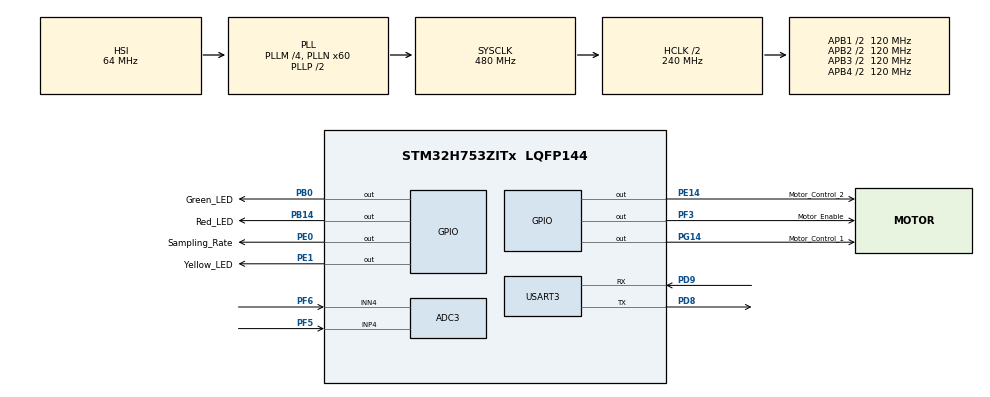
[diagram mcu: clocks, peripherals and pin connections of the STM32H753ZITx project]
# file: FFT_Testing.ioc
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ADC3.Channel-0\#ChannelRegularConversion=ADC_CHANNEL_4
ADC3.ExternalTrigConv=ADC_EXTERNALTRIG_T1_TRGO
ADC3.NbrOfConversionFlag=1
ADC3.OffsetNumber-0\#ChannelRegularConversion=ADC_OFFSET_NONE
ADC3.OffsetSignedSaturation-0\#ChannelRegularConversion=DISABLE
ADC3.Rank-0\#ChannelRegularConversion=1
ADC3.SamplingTime-0\#ChannelRegularConversion=ADC_SAMPLETIME_1CYCLE_5
ADC3.SingleDiff-0\#ChannelRegularConversion=ADC_DIFFERENTIAL_ENDED
CORTEX_M7.default_mode_Activation=1
Mcu.Family=STM32H7
Mcu.Name=STM32H753ZITx
Mcu.Package=LQFP144
NVIC.ADC3_IRQn=true\:0\:0\:false\:false\:true\:true\:true\:true
NVIC.PriorityGroup=NVIC_PRIORITYGROUP_4
PB0.GPIO_Label=Green_LED
PB0.Signal=GPIO_Output
PB14.GPIO_Label=Red_LED
PB14.Signal=GPIO_Output
PD8.Mode=Asynchronous
PD8.Signal=USART3_TX
PD9.Mode=Asynchronous
PD9.Signal=USART3_RX
PE0.GPIO_Label=Sampling_Rate
PE0.Signal=GPIO_Output
PE1.GPIO_Label=Yellow_LED
PE1.Signal=GPIO_Output
PE14.GPIO_Label=Motor_Control_2
PE14.Signal=GPIO_Output
PF3.GPIO_Label=Motor_Enable
PF3.Signal=GPIO_Output
PF5.Mode=IN4-Differential
PF5.Signal=ADC3_INP4
PF6.Mode=IN4-Differential
PF6.Signal=ADC3_INN4
PG14.GPIO_Label=Motor_Control_1
PG14.Signal=GPIO_Output
ProjectManager.HeapSize=0x200
ProjectManager.StackSize=0x400
ProjectManager.TargetToolchain=STM32CubeIDE
RCC.ADCFreq_Value=80000000
RCC.APB1Freq_Value=120000000
RCC.APB2Freq_Value=120000000
RCC.APB3Freq_Value=120000000
RCC.APB4Freq_Value=120000000
RCC.CortexFreq_Value=480000000
RCC.D1PPRE=RCC_APB3_DIV2
RCC.D2PPRE1=RCC_APB1_DIV2
RCC.D2PPRE2=RCC_APB2_DIV2
RCC.D3PPRE=RCC_APB4_DIV2
RCC.DIVM1=4
RCC.DIVM2=4
RCC.DIVN1=60
RCC.DIVN2=10
RCC.HCLKFreq_Value=240000000
RCC.HPRE=RCC_HCLK_DIV2
RCC.PLL2FRACN=0
RCC.PLL3FRACN=0
RCC.PLLFRACN=0
RCC.SYSCLKFreq_VALUE=480000000
RCC.SYSCLKSource=RCC_SYSCLKSOURCE_PLLCLK
RCC.USBFreq_Value=480000000
TIM1.Period=9.765625-1
TIM1.Prescaler=24000-1
TIM1.TIM_MasterOutputTrigger=TIM_TRGO_UPDATE
USART3.VirtualMode-Asynchronous=VM_ASYNC
VP_MEMORYMAP_VS_MEMORYMAP.Mode=CurAppReg
VP_TIM1_VS_ClockSourceINT.Mode=Internal
board=custom

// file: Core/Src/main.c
/* USER CODE BEGIN Header */
/**
  ******************************************************************************
  * @file           : main.c
  * @brief          : Main program body
  ******************************************************************************
  * @attention
  *
  * Copyright (c) 2025 STMicroelectronics.
  * All rights reserved.
  *
  * This software is licensed under terms that can be found in the LICENSE file
  * in the root directory of this software component.
  * If no LICENSE file comes with this software, it is provided AS-IS.
  *
  ******************************************************************************
  */
/* USER CODE END Header */
#include "main.h"

/* USER CODE BEGIN Includes */
#include <stdio.h>
#include <stdlib.h>

#define ARM_MATH_CM7
#include "arm_math.h"
#include "arm_const_structs.h"
/* USER CODE END Includes */

/* USER CODE BEGIN PD */

#define FFT_SIZE_V0_1 1024
#define FFT_SIZE_V2 64
#define SAMPLING_RATE 1024
#define TEST_VERSIONS 1
// TEST_VERSION 0 --> CFFT Piezo Input
// TEST_VERSION 1 --> RFFT Piezo Input
// TEST_VERSION 2 --> CFFT Sin Wave

#define NUM_STRINGS 6
#define MAX_PEAKS 18
#define FREQ_BIN_WIDTH 3
#define FREQ_TOLERANCE 7
#define HARM_TOLERANCE 2

#define E2_TUNE_TOL 0.5
#define A2_TUNE_TOL 0.75
#define D3_TUNE_TOL 1
#define G3_TUNE_TOL 1.35
#define B3_TUNE_TOL 1.7
#define E4_TUNE_TOL 2.3

#define E2 82.41
#define A2 110
#define D3 146.83
#define G3 196
#define B3 246.94
#define E4 329.63

#define E2_ADJUST 7
#define A2_ADJUST 9
#define D3_ADJUST 12
#define G3_ADJUST 16
#define B3_ADJUST 20
#define E4_ADJUST 27

/* USER CODE END PD */

ADC_HandleTypeDef hadc3;

TIM_HandleTypeDef htim1;

UART_HandleTypeDef huart3;

/* USER CODE BEGIN PV */
char buffer[100] = "";

uint32_t adc_val = 0;
uint16_t adc_max_range = 65535;
float voltage = 0.0f;

float currVal = 0.0f;
float peakVal = 0.0f;
float currFreq = 0.0f;
float peakFreq = 0.0f;

uint16_t fftIndex = 0;
uint8_t fftFlag = 0;
uint8_t freqBin = 1;
uint16_t freqIndex = 0;

q15_t inputSignalV0[FFT_SIZE_V0_1];
q15_t complexOutputV0[FFT_SIZE_V0_1 * 2];
q15_t freqSpectrumV0[FFT_SIZE_V0_1];

float inputSignalV1[FFT_SIZE_V0_1];
float outputSignalV1[FFT_SIZE_V0_1];
float freqSpectrumV1[FFT_SIZE_V0_1 / 2];
float dBSpectrumV1[FFT_SIZE_V0_1 / 2];
float currFreqArray[FFT_SIZE_V0_1 / 2];

q15_t inputSignalV2[FFT_SIZE_V2];
q15_t complexOutputV2[FFT_SIZE_V2 * 2];
q15_t freqSpectrumV2[FFT_SIZE_V2];

arm_rfft_fast_instance_f32 fftHandler;

int takeFFTs = 1;
int inTuneFlag = 0;
int tuneCounter = 0;

float E2_low = 73.42;
float E2_high = 92.50;
float A2_low = 98;
float A2_high = 123.47;
float D3_low = 130.81;
float D3_high = 164.81;
float G3_low = 174.61;
float G3_high = 220;
float B3_low = 220.001;
float B3_high = 277.18;
float E4_low = 293.66;
float E4_high = 369.99;

int peaks_list_freq[MAX_PEAKS];
float peaks_list_val[MAX_PEAKS];
int E2_freq_bin[FREQ_BIN_WIDTH];
int A2_freq_bin[FREQ_BIN_WIDTH];
int D3_freq_bin[FREQ_BIN_WIDTH];
int G3_freq_bin[FREQ_BIN_WIDTH];
int B3_freq_bin[FREQ_BIN_WIDTH];
int E4_freq_bin[FREQ_BIN_WIDTH];

int E2_index = 0;
int A2_index = 0;
int D3_index = 0;
int G3_index = 0;
int B3_index = 0;
int E4_index = 0;

int E2_tune = 0;
int A2_tune = 0;
int D3_tune = 0;
int G3_tune = 0;
int B3_tune = 0;
int E4_tune = 0;
// 0 --> In Tune
// 1 --> Sharp
// 2 --> Flat

int prevDegreesRotated = 180;
int currDegreesRotated = 0;
float inTuneDiff = 0;

/* USER CODE END PV */

void SystemClock_Config(void);
static void MPU_Config(void);
static void MX_GPIO_Init(void);
static void MX_ADC3_Init(void);
static void MX_TIM1_Init(void);
static void MX_USART3_UART_Init(void);

/* USER CODE BEGIN 0 */
void HAL_ADC_ConvCpltCallback(ADC_HandleTypeDef *hadc) {
	adc_val = HAL_ADC_GetValue(hadc);
	voltage = ((3300 * 2 * adc_val) / (float) adc_max_range) - 3300;

	if (TEST_VERSIONS == 0) { // --------------------------------------------------------------------------
		inputSignalV0[fftIndex] = voltage;
		complexOutputV0[fftIndex * 2] = voltage;
		complexOutputV0[fftIndex * 2 + 1] = 0;
		fftIndex++;

		if (fftIndex == FFT_SIZE_V0_1) {
			arm_cfft_q15(&arm_cfft_sR_q15_len64, &complexOutputV0[0], 0, 1);
			arm_cmplx_mag_q15(&complexOutputV0[0], &freqSpectrumV0[0], FFT_SIZE_V0_1);

			fftFlag = 1;
			fftIndex = 0;
		}
	} else if (TEST_VERSIONS == 1) { // -------------------------------------------------------------------
		if (takeFFTs == 1) {
			inputSignalV1[fftIndex] = voltage;
			fftIndex++;

			if (fftIndex == FFT_SIZE_V0_1) {
				arm_rfft_fast_f32(&fftHandler, &inputSignalV1[0], &outputSignalV1[0], 0);

				fftFlag = 1;
				fftIndex = 0;

				HAL_GPIO_TogglePin(GPIOE, Sampling_Rate_Pin);
			}
		}
	} else if (TEST_VERSIONS == 2) { // -------------------------------------------------------------------
		// Sin Wave Test Output
	}
}

void blinkGreenLED() {
	HAL_Delay(1000);
	HAL_GPIO_WritePin(Green_LED_GPIO_Port, Green_LED_Pin, GPIO_PIN_SET);
	HAL_Delay(1000);
	HAL_GPIO_WritePin(Green_LED_GPIO_Port, Green_LED_Pin, GPIO_PIN_RESET);
}

void blinkYellowLED() {
	HAL_Delay(1000);
	HAL_GPIO_WritePin(Yellow_LED_GPIO_Port, Yellow_LED_Pin, GPIO_PIN_SET);
	HAL_Delay(1000);
	HAL_GPIO_WritePin(Yellow_LED_GPIO_Port, Yellow_LED_Pin, GPIO_PIN_RESET);
}

void blinkRedLED() {
	HAL_Delay(1000);
	HAL_GPIO_WritePin(Red_LED_GPIO_Port, Red_LED_Pin, GPIO_PIN_SET);
	HAL_Delay(1000);
	HAL_GPIO_WritePin(Red_LED_GPIO_Port, Red_LED_Pin, GPIO_PIN_RESET);
}

void blinkAllLEDs() {
	HAL_Delay(1000);
	HAL_GPIO_WritePin(Green_LED_GPIO_Port, Green_LED_Pin, GPIO_PIN_SET);
	HAL_GPIO_WritePin(Yellow_LED_GPIO_Port, Yellow_LED_Pin, GPIO_PIN_SET);
	HAL_GPIO_WritePin(Red_LED_GPIO_Port, Red_LED_Pin, GPIO_PIN_SET);
	HAL_Delay(1000);
	HAL_GPIO_WritePin(Green_LED_GPIO_Port, Green_LED_Pin, GPIO_PIN_RESET);
	HAL_GPIO_WritePin(Yellow_LED_GPIO_Port, Yellow_LED_Pin, GPIO_PIN_RESET);
	HAL_GPIO_WritePin(Red_LED_GPIO_Port, Red_LED_Pin, GPIO_PIN_RESET);
}

void resetFreqPeaksList() {
	for (int i = 0; i < MAX_PEAKS; i++) {
		peaks_list_freq[i] = 0;
		peaks_list_val[i] = 0;
	}
}

void resetFreqPeaksBins() {
	for (int i = 0; i < FREQ_BIN_WIDTH; i++) {
		E2_freq_bin[i] = 0;
		A2_freq_bin[i] = 0;
		D3_freq_bin[i] = 0;
		G3_freq_bin[i] = 0;
		B3_freq_bin[i] = 0;
		E4_freq_bin[i] = 0;
	}

	E2_index = 0;
	A2_index = 0;
	D3_index = 0;
	G3_index = 0;
	B3_index = 0;
	E4_index = 0;
}

void stopFFTsCheck() {
	if (E2_index > 0 &&
		A2_index > 0 &&
		D3_index > 0 &&
		G3_index > 0 &&
		B3_index > 0 &&
		E4_index > 0) {
		takeFFTs = 0;
	}
}

void clearBuffer() {
	memset(buffer, 0, sizeof(buffer));
}

void printFreqBins() {
	for (int i = 0; i < NUM_STRINGS; i++) {
		for (int j = 0; j < FREQ_BIN_WIDTH; j++) {
			if (i == 0) {
				if (E2_freq_bin[j] > 0) {
					snprintf(buffer, 100, "E2 Freq Bin: %d \r\n", E2_freq_bin[j]);
					HAL_UART_Transmit(&huart3, (uint8_t*) buffer, 100, 100);
				}
			} else if (i == 1) {
				if (A2_freq_bin[j] > 0) {
					snprintf(buffer, 100, "A2 Freq Bin: %d \r\n", A2_freq_bin[j]);
					HAL_UART_Transmit(&huart3, (uint8_t*) buffer, 100, 100);
				}
			} else if (i == 2) {
				if (D3_freq_bin[j] > 0) {
					snprintf(buffer, 100, "D3 Freq Bin: %d \r\n", D3_freq_bin[j]);
					HAL_UART_Transmit(&huart3, (uint8_t*) buffer, 100, 100);
				}
			} else if (i == 3) {
				if (G3_freq_bin[j] > 0) {
					snprintf(buffer, 100, "G3 Freq Bin: %d \r\n", G3_freq_bin[j]);
					HAL_UART_Transmit(&huart3, (uint8_t*) buffer, 100, 100);
				}
			} else if (i == 4) {
				if (B3_freq_bin[j] > 0) {
					snprintf(buffer, 100, "B3 Freq Bin: %d \r\n", B3_freq_bin[j]);
					HAL_UART_Transmit(&huart3, (uint8_t*) buffer, 100, 100);
				}
			} else {
				if (E4_freq_bin[j] > 0) {
					snprintf(buffer, 100, "E4 Freq Bin: %d \r\n", E4_freq_bin[j]);
					HAL_UART_Transmit(&huart3, (uint8_t*) buffer, 100, 100);
				}
			}
		}
	}

	clearBuffer();
}

void removeHarmonics() {
	int fundamental = 0;
	int harm_one = 0;
	int harm_two = 0;

	for (int i = 0; i < MAX_PEAKS; i++) {
		fundamental = peaks_list_freq[i];
		harm_one = fundamental * 2;
		harm_two = fundamental * 0; // ISSUE: Causes conflict with the upper strings right now

		for (int j = i + 1; j < MAX_PEAKS; j++) {
			if ((peaks_list_freq[j] != 0) &&
			   ((peaks_list_freq[j] >= harm_one - HARM_TOLERANCE && peaks_list_freq[j] <= harm_one + HARM_TOLERANCE) ||
				(peaks_list_freq[j] >= harm_two - HARM_TOLERANCE && peaks_list_freq[j] <= harm_two + HARM_TOLERANCE))) {
				peaks_list_freq[j] = 0;
			}
		}
	}

	clearBuffer();
}

void identifyFreqPeaks(float freq_vals[], int arr_length) {
	int curr_index = 0;
	resetFreqPeaksList();

	for (int i = 0; i < arr_length; i++) {
		if (freq_vals[i] >= 30000 && i > 70) {
			if (curr_index > 0) {
				if ((peaks_list_val[curr_index - 1] < freq_vals[i]) && (i - peaks_list_freq[curr_index - 1] <= FREQ_TOLERANCE)) {
					peaks_list_freq[curr_index - 1] = i;
					peaks_list_val[curr_index - 1] = freq_vals[i];
				} else if ((peaks_list_val[curr_index - 1] > freq_vals[i]) && (i - peaks_list_freq[curr_index - 1] <= FREQ_TOLERANCE)) {
					continue;
				} else {
					peaks_list_freq[curr_index] = i;
					peaks_list_val[curr_index] = freq_vals[i];
					curr_index++;
				}
			} else {
				peaks_list_freq[curr_index] = i;
				peaks_list_val[curr_index] = freq_vals[i];
				curr_index++;
			}
		}
	}
}

int determineDuplicateFreqs(int freqs[], int new_freq) {
	for (int i = 0; i < FREQ_BIN_WIDTH; i++) {
		if (freqs[i] == new_freq) {
			return 1;
		}
	}

	return 0;
}

void determineFreqBins() {
	int curr_peak = 0;
	for (int i = 0; i < MAX_PEAKS; i++) {
		curr_peak = peaks_list_freq[i];
		if ((curr_peak + E2_ADJUST > E2_low && curr_peak + E2_ADJUST < E2_high) &&
			(determineDuplicateFreqs(&E2_freq_bin[0], curr_peak + E2_ADJUST) == 0) &&
			(E2_index < FREQ_BIN_WIDTH)) {
			E2_freq_bin[E2_index] = curr_peak + E2_ADJUST;
			E2_index++;
		} else if ((curr_peak + A2_ADJUST > A2_low && curr_peak + A2_ADJUST < A2_high) &&
				   (determineDuplicateFreqs(&A2_freq_bin[0], curr_peak + A2_ADJUST) == 0) &&
				   (A2_index < FREQ_BIN_WIDTH)) {
			A2_freq_bin[A2_index] = curr_peak + A2_ADJUST;
			A2_index++;
		} else if ((curr_peak + D3_ADJUST > D3_low && curr_peak + D3_ADJUST < D3_high) &&
				   (determineDuplicateFreqs(&D3_freq_bin[0], curr_peak + D3_ADJUST) == 0) &&
				   (D3_index < FREQ_BIN_WIDTH)) {
			D3_freq_bin[D3_index] = curr_peak+ D3_ADJUST;
			D3_index++;
		} else if ((curr_peak + G3_ADJUST > G3_low && curr_peak + G3_ADJUST < G3_high) &&
				   (determineDuplicateFreqs(&G3_freq_bin[0], curr_peak + G3_ADJUST) == 0) &&
				   (G3_index < FREQ_BIN_WIDTH)) {
			G3_freq_bin[G3_index] = curr_peak+ G3_ADJUST;
			G3_index++;
		} else if ((curr_peak + B3_ADJUST > B3_low && curr_peak + B3_ADJUST < B3_high) &&
				   (determineDuplicateFreqs(&B3_freq_bin[0], curr_peak + B3_ADJUST) == 0) &&
				   (B3_index < FREQ_BIN_WIDTH)) {
			B3_freq_bin[B3_index] = curr_peak+ B3_ADJUST ;
			B3_index++;
		} else if ((curr_peak + E4_ADJUST > E4_low && curr_peak + E4_ADJUST < E4_high) &&
				   (determineDuplicateFreqs(&E4_freq_bin[0], curr_peak + E4_ADJUST) == 0) &&
				   (E4_index < FREQ_BIN_WIDTH)) {
			E4_freq_bin[E4_index] = curr_peak+ E4_ADJUST ;
			E4_index++;
		} else {
			continue;
		}
	}
}

void checkClosestFreq(int freqs[], float correct_note) {
	int peakOneFreqDist = abs(correct_note - freqs[0]);
	int peakTwoFreqDist = abs(correct_note - freqs[1]);
	int peakThreeFreqDist = abs(correct_note - freqs[2]);

	if (peakOneFreqDist <= peakTwoFreqDist && peakOneFreqDist <= peakThreeFreqDist) {
		freqs[0] = freqs[0];
		freqs[1] = 0;
		freqs[2] = 0;
	} else if (peakTwoFreqDist <= peakOneFreqDist && peakTwoFreqDist <= peakThreeFreqDist) {
		freqs[0] = freqs[1];
		freqs[1] = 0;
		freqs[2] = 0;
	} else if (peakThreeFreqDist <= peakOneFreqDist && peakThreeFreqDist <= peakTwoFreqDist) {
		freqs[0] = freqs[2];
		freqs[1] = 0;
		freqs[2] = 0;
	}
}

void cleanFreqBins() {
	for (int i = 0; i < NUM_STRINGS; i++) {
		if (i == 0) {
			if (E2_index > 1) {
				checkClosestFreq(&E2_freq_bin[0], E2);
				E2_index = 1;
			}
		} else if (i == 1) {
			if (A2_index > 1) {
				checkClosestFreq(&A2_freq_bin[0], A2);
				A2_index = 1;
			}
		} else if (i == 2) {
			if (D3_index > 1) {
				checkClosestFreq(&D3_freq_bin[0], D3);
				D3_index = 1;
			}
		} else if (i == 3) {
			if (G3_index > 1) {
				checkClosestFreq(&G3_freq_bin[0], G3);
				G3_index = 1;
			}
		} else if (i == 4) {
			if (B3_index > 1) {
				checkClosestFreq(&B3_freq_bin[0], B3);
				B3_index = 1;
			}
		} else if (i == 5) {
			if (E4_index > 1) {
				checkClosestFreq(&E4_freq_bin[0], E4);
				E4_index = 1;
			}
		}
	}
}

void rotateMotor(int direction, int duration){
	if (direction == 1) {
		HAL_GPIO_WritePin(Motor_Control_1_GPIO_Port, Motor_Control_1_Pin, GPIO_PIN_SET);
		HAL_GPIO_WritePin(GPIOE, Motor_Control_2_Pin, GPIO_PIN_RESET);
	} else if (direction == 2) {
		HAL_GPIO_WritePin(Motor_Control_1_GPIO_Port, Motor_Control_1_Pin, GPIO_PIN_RESET);
		HAL_GPIO_WritePin(GPIOE, Motor_Control_2_Pin, GPIO_PIN_SET);
	}

	HAL_GPIO_WritePin(Motor_Enable_GPIO_Port, Motor_Enable_Pin, GPIO_PIN_SET);

	snprintf(buffer, 100, "Motor Rotation Duration: %d \r\n", duration);
	HAL_UART_Transmit(&huart3, (uint8_t*) buffer, 100, 100);
	clearBuffer();

	HAL_Delay(duration);

	HAL_GPIO_WritePin(Motor_Control_1_GPIO_Port, Motor_Control_1_Pin, GPIO_PIN_RESET);
	HAL_GPIO_WritePin(GPIOE, Motor_Control_2_Pin, GPIO_PIN_RESET);
	HAL_GPIO_WritePin(Motor_Enable_GPIO_Port, Motor_Enable_Pin, GPIO_PIN_RESET);
}

int determineDuration(float correctFreq, float currFreq){
	inTuneDiff = abs(correctFreq - currFreq);
	currDegreesRotated = (inTuneDiff / 21) * 180;
	if (currDegreesRotated < prevDegreesRotated) {
		prevDegreesRotated = currDegreesRotated;
		return (currDegreesRotated / 3) * 1000;
	} else {
		return -1;
	}
}

void turnMotors() {
	if (E2_tune == 1) {
		snprintf(buffer, 100, "E2 String is Sharp... Turning Motor Clockwise \r\n");
		HAL_UART_Transmit(&huart3, (uint8_t*) buffer, 100, 100);
	} else if (E2_tune == 2) {
		snprintf(buffer, 100, "E2 String is Flat... Turning Motor Counterclockwise \r\n");
		HAL_UART_Transmit(&huart3, (uint8_t*) buffer, 100, 100);
	}
	clearBuffer();

	if (A2_tune == 1) {
		snprintf(buffer, 100, "A2 String is Sharp... Turning Motor Clockwise \r\n");
		HAL_UART_Transmit(&huart3, (uint8_t*) buffer, 100, 100);
	} else if (A2_tune == 2) {
		snprintf(buffer, 100, "A2 String is Flat... Turning Motor Counterclockwise \r\n");
		HAL_UART_Transmit(&huart3, (uint8_t*) buffer, 100, 100);
	}
	clearBuffer();

	if (D3_tune == 1) {
		snprintf(buffer, 100, "D3 String is Sharp... Turning Motor Clockwise \r\n");
		HAL_UART_Transmit(&huart3, (uint8_t*) buffer, 100, 100);
	} else if (D3_tune == 2) {
		snprintf(buffer, 100, "D3 String is Flat... Turning Motor Counterclockwise \r\n");
		HAL_UART_Transmit(&huart3, (uint8_t*) buffer, 100, 100);
	}
	clearBuffer();

	if (G3_tune == 1) {
		snprintf(buffer, 100, "G3 String is Sharp... Turning Motor Clockwise \r\n");
		HAL_UART_Transmit(&huart3, (uint8_t*) buffer, 100, 100);
		clearBuffer();

		rotateMotor(1, determineDuration(G3, G3_freq_bin[0]));
	} else if (G3_tune == 2) {
		snprintf(buffer, 100, "G3 String is Flat... Turning Motor Counterclockwise \r\n");
		HAL_UART_Transmit(&huart3, (uint8_t*) buffer, 100, 100);
		clearBuffer();

		rotateMotor(2, determineDuration(G3, G3_freq_bin[0]));
	}
	clearBuffer();

	if (B3_tune == 1) {
		snprintf(buffer, 100, "B3 String is Sharp... Turning Motor Clockwise \r\n");
		HAL_UART_Transmit(&huart3, (uint8_t*) buffer, 100, 100);
	} else if (B3_tune == 2) {
		snprintf(buffer, 100, "B3 String is Flat... Turning Motor Counterclockwise \r\n");
		HAL_UART_Transmit(&huart3, (uint8_t*) buffer, 100, 100);
	}
	clearBuffer();

	if (E4_tune == 1) {
		snprintf(buffer, 100, "E4 String is Sharp... Turning Motor Clockwise \r\n");
		HAL_UART_Transmit(&huart3, (uint8_t*) buffer, 100, 100);
	} else if (E4_tune == 2) {
		snprintf(buffer, 100, "E4 String is Flat... Turning Motor Counterclockwise \r\n");
		HAL_UART_Transmit(&huart3, (uint8_t*) buffer, 100, 100);
	}
	clearBuffer();
}

void isFlat() {
	blinkRedLED();
}

void isSharp() {
	blinkYellowLED();
}

void isInTune() {
	blinkGreenLED();
}

int calculateTuning(float curr_freq, float correct_freq, float tune_tol) {
	if (curr_freq >= correct_freq - tune_tol && curr_freq <= correct_freq + tune_tol) {
		//isInTune();
		return 0;
	} else if (curr_freq > correct_freq + tune_tol) {
		//isSharp();
		return 1;
	} else if (curr_freq < correct_freq - tune_tol) {
		//isFlat();
		return 2;
	} else {
		HAL_GPIO_WritePin(Green_LED_GPIO_Port, Green_LED_Pin, GPIO_PIN_SET);
		HAL_GPIO_WritePin(Yellow_LED_GPIO_Port, Yellow_LED_Pin, GPIO_PIN_SET);
		HAL_GPIO_WritePin(Red_LED_GPIO_Port, Red_LED_Pin, GPIO_PIN_SET);
		return 3;
	}
}

void checkTuning() {
	inTuneFlag = 0;
	for (int i = 0; i < NUM_STRINGS; i++) {
		if (i == 0) {
			E2_tune = calculateTuning(E2_freq_bin[0], E2, E2_TUNE_TOL);
			inTuneFlag += E2_tune;
		} else if (i == 1) {
			A2_tune = calculateTuning(A2_freq_bin[0], A2, A2_TUNE_TOL);
			inTuneFlag += A2_tune;
		} else if (i == 2) {
			D3_tune = calculateTuning(D3_freq_bin[0], D3, D3_TUNE_TOL);
			inTuneFlag += D3_tune;
		} else if (i == 3) {
			G3_tune = calculateTuning(G3_freq_bin[0], G3, G3_TUNE_TOL);
			inTuneFlag += G3_tune;
		} else if (i == 4) {
			B3_tune = calculateTuning(B3_freq_bin[0], B3, B3_TUNE_TOL);
			inTuneFlag += B3_tune;
		} else {
			E4_tune = calculateTuning(E4_freq_bin[0], E4, E4_TUNE_TOL);
			inTuneFlag += E4_tune;
		}
	}

	if (inTuneFlag == 0) {
		snprintf(buffer, 100, "Your guitar is in tune and ready to play! \r\n");
		HAL_UART_Transmit(&huart3, (uint8_t*) buffer, 100, 100);
		clearBuffer();

		takeFFTs = 2;
	} else {
		snprintf(buffer, 100, "Tuning still in process... \r\n");
		HAL_UART_Transmit(&huart3, (uint8_t*) buffer, 100, 100);
		clearBuffer();

		turnMotors();

		snprintf(buffer, 100, "Please strum again! \r\n");
		HAL_UART_Transmit(&huart3, (uint8_t*) buffer, 100, 100);
		clearBuffer();

		takeFFTs = 1;
	}
}

/* USER CODE END 0 */

int main(void)
{

  /* MPU Configuration--------------------------------------------------------*/
  MPU_Config();

  /* MCU Configuration--------------------------------------------------------*/

  /* Reset of all peripherals, Initializes the Flash interface and the Systick. */
  HAL_Init();

  /* Configure the system clock */
  SystemClock_Config();

  /* Initialize all configured peripherals */
  MX_GPIO_Init();
  MX_ADC3_Init();
  MX_TIM1_Init();
  MX_USART3_UART_Init();
  /* USER CODE BEGIN 2 */

  arm_rfft_fast_init_f32(&fftHandler, FFT_SIZE_V0_1);

  HAL_ADCEx_Calibration_Start(&hadc3, ADC_CALIB_OFFSET_LINEARITY, ADC_DIFFERENTIAL_ENDED);
  HAL_TIM_Base_Start(&htim1);
  HAL_ADC_Start_IT(&hadc3);

  snprintf(buffer, 100, "Please strum your guitar to begin the tuning process! \r\n");
  HAL_UART_Transmit(&huart3, (uint8_t*) buffer, 100, 100);
  clearBuffer();

  /* USER CODE END 2 */

  /* Infinite loop */
  while (1)
  {

    /* USER CODE BEGIN 3 */

	blinkAllLEDs();

	if (TEST_VERSIONS == 1) {
		if (fftFlag == 1 && takeFFTs == 1) {
			freqIndex = 0;
			for (int i = 0; i < FFT_SIZE_V0_1; i += 2) {
				currVal = sqrtf((outputSignalV1[i] * outputSignalV1[i]) + (outputSignalV1[i + 1] * outputSignalV1[i + 1]));
				currFreq = (freqIndex * SAMPLING_RATE) / (float) FFT_SIZE_V0_1;

				currFreqArray[i / 2] = currFreq;
				freqSpectrumV1[i / 2] = currVal;
				dBSpectrumV1[i / 2] = 20 * log10(currVal);

				freqIndex++;
			}

			identifyFreqPeaks(&freqSpectrumV1[0], FFT_SIZE_V0_1 / 2);

			removeHarmonics();

			determineFreqBins();

			stopFFTsCheck();

			fftFlag = 0;

		} else if (takeFFTs == 0) {

			cleanFreqBins();

			printFreqBins();

			checkTuning();

			resetFreqPeaksBins();
		} else if (takeFFTs == 2) {
			HAL_Delay(5000);

			takeFFTs = 1;
		}
	} else if (TEST_VERSIONS == 2) {
		for (int i = 0; i < FFT_SIZE_V2; i++) {
			inputSignalV2[i] = round(32767 * sin(freqBin * 2.0 * M_PI * i / FFT_SIZE_V2));
			complexOutputV2[i * 2] = inputSignalV2[i];
			complexOutputV2[i * 2 + 1] = 0;
		}

		freqBin++;
		if (freqBin >= FFT_SIZE_V2 / 2) {
			freqBin = 1;
		}

		arm_cfft_q15(&arm_cfft_sR_q15_len64, &complexOutputV2[0], 0, 1);
		arm_cmplx_mag_q15(&complexOutputV2[0], &freqSpectrumV2[0], FFT_SIZE_V2);

	}

  }
  /* USER CODE END 3 */
}

void SystemClock_Config(void)
{
  RCC_OscInitTypeDef RCC_OscInitStruct = {0};
  RCC_ClkInitTypeDef RCC_ClkInitStruct = {0};

  /** Supply configuration update enable
  */
  HAL_PWREx_ConfigSupply(PWR_LDO_SUPPLY);

  /** Configure the main internal regulator output voltage
  */
  __HAL_PWR_VOLTAGESCALING_CONFIG(PWR_REGULATOR_VOLTAGE_SCALE0);

  while(!__HAL_PWR_GET_FLAG(PWR_FLAG_VOSRDY)) {}

  /** Initializes the RCC Oscillators according to the specified parameters
  * in the RCC_OscInitTypeDef structure.
  */
  RCC_OscInitStruct.OscillatorType = RCC_OSCILLATORTYPE_HSI;
  RCC_OscInitStruct.HSIState = RCC_HSI_DIV1;
  RCC_OscInitStruct.HSICalibrationValue = RCC_HSICALIBRATION_DEFAULT;
  RCC_OscInitStruct.PLL.PLLState = RCC_PLL_ON;
  RCC_OscInitStruct.PLL.PLLSource = RCC_PLLSOURCE_HSI;
  RCC_OscInitStruct.PLL.PLLM = 4;
  RCC_OscInitStruct.PLL.PLLN = 60;
  RCC_OscInitStruct.PLL.PLLP = 2;
  RCC_OscInitStruct.PLL.PLLQ = 2;
  RCC_OscInitStruct.PLL.PLLR = 2;
  RCC_OscInitStruct.PLL.PLLRGE = RCC_PLL1VCIRANGE_3;
  RCC_OscInitStruct.PLL.PLLVCOSEL = RCC_PLL1VCOWIDE;
  RCC_OscInitStruct.PLL.PLLFRACN = 0;
  if (HAL_RCC_OscConfig(&RCC_OscInitStruct) != HAL_OK)
  {
    Error_Handler();
  }

  /** Initializes the CPU, AHB and APB buses clocks
  */
  RCC_ClkInitStruct.ClockType = RCC_CLOCKTYPE_HCLK|RCC_CLOCKTYPE_SYSCLK
                              |RCC_CLOCKTYPE_PCLK1|RCC_CLOCKTYPE_PCLK2
                              |RCC_CLOCKTYPE_D3PCLK1|RCC_CLOCKTYPE_D1PCLK1;
  RCC_ClkInitStruct.SYSCLKSource = RCC_SYSCLKSOURCE_PLLCLK;
  RCC_ClkInitStruct.SYSCLKDivider = RCC_SYSCLK_DIV1;
  RCC_ClkInitStruct.AHBCLKDivider = RCC_HCLK_DIV2;
  RCC_ClkInitStruct.APB3CLKDivider = RCC_APB3_DIV2;
  RCC_ClkInitStruct.APB1CLKDivider = RCC_APB1_DIV2;
  RCC_ClkInitStruct.APB2CLKDivider = RCC_APB2_DIV2;
  RCC_ClkInitStruct.APB4CLKDivider = RCC_APB4_DIV2;

  if (HAL_RCC_ClockConfig(&RCC_ClkInitStruct, FLASH_LATENCY_4) != HAL_OK)
  {
    Error_Handler();
  }
}

static void MX_ADC3_Init(void)
{

  ADC_ChannelConfTypeDef sConfig = {0};

  /** Common config
  */
  hadc3.Instance = ADC3;
  hadc3.Init.Resolution = ADC_RESOLUTION_16B;
  hadc3.Init.ScanConvMode = ADC_SCAN_DISABLE;
  hadc3.Init.EOCSelection = ADC_EOC_SINGLE_CONV;
  hadc3.Init.LowPowerAutoWait = DISABLE;
  hadc3.Init.ContinuousConvMode = DISABLE;
  hadc3.Init.NbrOfConversion = 1;
  hadc3.Init.DiscontinuousConvMode = DISABLE;
  hadc3.Init.ExternalTrigConv = ADC_EXTERNALTRIG_T1_TRGO;
  hadc3.Init.ExternalTrigConvEdge = ADC_EXTERNALTRIGCONVEDGE_RISING;
  hadc3.Init.ConversionDataManagement = ADC_CONVERSIONDATA_DR;
  hadc3.Init.Overrun = ADC_OVR_DATA_PRESERVED;
  hadc3.Init.LeftBitShift = ADC_LEFTBITSHIFT_NONE;
  hadc3.Init.OversamplingMode = DISABLE;
  hadc3.Init.Oversampling.Ratio = 1;
  if (HAL_ADC_Init(&hadc3) != HAL_OK)
  {
    Error_Handler();
  }

  /** Configure Regular Channel
  */
  sConfig.Channel = ADC_CHANNEL_4;
  sConfig.Rank = ADC_REGULAR_RANK_1;
  sConfig.SamplingTime = ADC_SAMPLETIME_1CYCLE_5;
  sConfig.SingleDiff = ADC_DIFFERENTIAL_ENDED;
  sConfig.OffsetNumber = ADC_OFFSET_NONE;
  sConfig.Offset = 0;
  sConfig.OffsetSignedSaturation = DISABLE;
  if (HAL_ADC_ConfigChannel(&hadc3, &sConfig) != HAL_OK)
  {
    Error_Handler();
  }

}

static void MX_TIM1_Init(void)
{

  TIM_ClockConfigTypeDef sClockSourceConfig = {0};
  TIM_MasterConfigTypeDef sMasterConfig = {0};

  htim1.Instance = TIM1;
  htim1.Init.Prescaler = 24000-1;
  htim1.Init.CounterMode = TIM_COUNTERMODE_UP;
  htim1.Init.Period = 9.765625-1;
  htim1.Init.ClockDivision = TIM_CLOCKDIVISION_DIV1;
  htim1.Init.RepetitionCounter = 0;
  htim1.Init.AutoReloadPreload = TIM_AUTORELOAD_PRELOAD_DISABLE;
  if (HAL_TIM_Base_Init(&htim1) != HAL_OK)
  {
    Error_Handler();
  }
  sClockSourceConfig.ClockSource = TIM_CLOCKSOURCE_INTERNAL;
  if (HAL_TIM_ConfigClockSource(&htim1, &sClockSourceConfig) != HAL_OK)
  {
    Error_Handler();
  }
  sMasterConfig.MasterOutputTrigger = TIM_TRGO_UPDATE;
  sMasterConfig.MasterOutputTrigger2 = TIM_TRGO2_RESET;
  sMasterConfig.MasterSlaveMode = TIM_MASTERSLAVEMODE_DISABLE;
  if (HAL_TIMEx_MasterConfigSynchronization(&htim1, &sMasterConfig) != HAL_OK)
  {
    Error_Handler();
  }

}

static void MX_USART3_UART_Init(void)
{

  huart3.Instance = USART3;
  huart3.Init.BaudRate = 115200;
  huart3.Init.WordLength = UART_WORDLENGTH_8B;
  huart3.Init.StopBits = UART_STOPBITS_1;
  huart3.Init.Parity = UART_PARITY_NONE;
  huart3.Init.Mode = UART_MODE_TX_RX;
  huart3.Init.HwFlowCtl = UART_HWCONTROL_NONE;
  huart3.Init.OverSampling = UART_OVERSAMPLING_16;
  huart3.Init.OneBitSampling = UART_ONE_BIT_SAMPLE_DISABLE;
  huart3.Init.ClockPrescaler = UART_PRESCALER_DIV1;
  huart3.AdvancedInit.AdvFeatureInit = UART_ADVFEATURE_NO_INIT;
  if (HAL_UART_Init(&huart3) != HAL_OK)
  {
    Error_Handler();
  }
  if (HAL_UARTEx_SetTxFifoThreshold(&huart3, UART_TXFIFO_THRESHOLD_1_8) != HAL_OK)
  {
    Error_Handler();
  }
  if (HAL_UARTEx_SetRxFifoThreshold(&huart3, UART_RXFIFO_THRESHOLD_1_8) != HAL_OK)
  {
    Error_Handler();
  }
  if (HAL_UARTEx_DisableFifoMode(&huart3) != HAL_OK)
  {
    Error_Handler();
  }

}

static void MX_GPIO_Init(void)
{
  GPIO_InitTypeDef GPIO_InitStruct = {0};

  /* GPIO Ports Clock Enable */
  __HAL_RCC_GPIOF_CLK_ENABLE();
  __HAL_RCC_GPIOB_CLK_ENABLE();
  __HAL_RCC_GPIOE_CLK_ENABLE();
  __HAL_RCC_GPIOD_CLK_ENABLE();
  __HAL_RCC_GPIOG_CLK_ENABLE();

  /*Configure GPIO pin Output Level */
  HAL_GPIO_WritePin(Motor_Enable_GPIO_Port, Motor_Enable_Pin, GPIO_PIN_RESET);

  /*Configure GPIO pin Output Level */
  HAL_GPIO_WritePin(GPIOB, Green_LED_Pin|Red_LED_Pin, GPIO_PIN_RESET);

  /*Configure GPIO pin Output Level */
  HAL_GPIO_WritePin(GPIOE, Motor_Control_2_Pin|Sampling_Rate_Pin|Yellow_LED_Pin, GPIO_PIN_RESET);

  /*Configure GPIO pin Output Level */
  HAL_GPIO_WritePin(Motor_Control_1_GPIO_Port, Motor_Control_1_Pin, GPIO_PIN_RESET);

  /*Configure GPIO pin : Motor_Enable_Pin */
  GPIO_InitStruct.Pin = Motor_Enable_Pin;
  GPIO_InitStruct.Mode = GPIO_MODE_OUTPUT_PP;
  GPIO_InitStruct.Pull = GPIO_NOPULL;
  GPIO_InitStruct.Speed = GPIO_SPEED_FREQ_LOW;
  HAL_GPIO_Init(Motor_Enable_GPIO_Port, &GPIO_InitStruct);

  /*Configure GPIO pins : Green_LED_Pin Red_LED_Pin */
  GPIO_InitStruct.Pin = Green_LED_Pin|Red_LED_Pin;
  GPIO_InitStruct.Mode = GPIO_MODE_OUTPUT_PP;
  GPIO_InitStruct.Pull = GPIO_NOPULL;
  GPIO_InitStruct.Speed = GPIO_SPEED_FREQ_LOW;
  HAL_GPIO_Init(GPIOB, &GPIO_InitStruct);

  /*Configure GPIO pins : Motor_Control_2_Pin Sampling_Rate_Pin Yellow_LED_Pin */
  GPIO_InitStruct.Pin = Motor_Control_2_Pin|Sampling_Rate_Pin|Yellow_LED_Pin;
  GPIO_InitStruct.Mode = GPIO_MODE_OUTPUT_PP;
  GPIO_InitStruct.Pull = GPIO_NOPULL;
  GPIO_InitStruct.Speed = GPIO_SPEED_FREQ_LOW;
  HAL_GPIO_Init(GPIOE, &GPIO_InitStruct);

  /*Configure GPIO pin : Motor_Control_1_Pin */
  GPIO_InitStruct.Pin = Motor_Control_1_Pin;
  GPIO_InitStruct.Mode = GPIO_MODE_OUTPUT_PP;
  GPIO_InitStruct.Pull = GPIO_NOPULL;
  GPIO_InitStruct.Speed = GPIO_SPEED_FREQ_LOW;
  HAL_GPIO_Init(Motor_Control_1_GPIO_Port, &GPIO_InitStruct);

}

 /* MPU Configuration */

void MPU_Config(void)
{
  MPU_Region_InitTypeDef MPU_InitStruct = {0};

  /* Disables the MPU */
  HAL_MPU_Disable();

  /** Initializes and configures the Region and the memory to be protected
  */
  MPU_InitStruct.Enable = MPU_REGION_ENABLE;
  MPU_InitStruct.Number = MPU_REGION_NUMBER0;
  MPU_InitStruct.BaseAddress = 0x0;
  MPU_InitStruct.Size = MPU_REGION_SIZE_4GB;
  MPU_InitStruct.SubRegionDisable = 0x87;
  MPU_InitStruct.TypeExtField = MPU_TEX_LEVEL0;
  MPU_InitStruct.AccessPermission = MPU_REGION_NO_ACCESS;
  MPU_InitStruct.DisableExec = MPU_INSTRUCTION_ACCESS_DISABLE;
  MPU_InitStruct.IsShareable = MPU_ACCESS_SHAREABLE;
  MPU_InitStruct.IsCacheable = MPU_ACCESS_NOT_CACHEABLE;
  MPU_InitStruct.IsBufferable = MPU_ACCESS_NOT_BUFFERABLE;

  HAL_MPU_ConfigRegion(&MPU_InitStruct);
  /* Enables the MPU */
  HAL_MPU_Enable(MPU_PRIVILEGED_DEFAULT);

}

void Error_Handler(void)
{
  __disable_irq();
  while (1)
  {
  }
}
